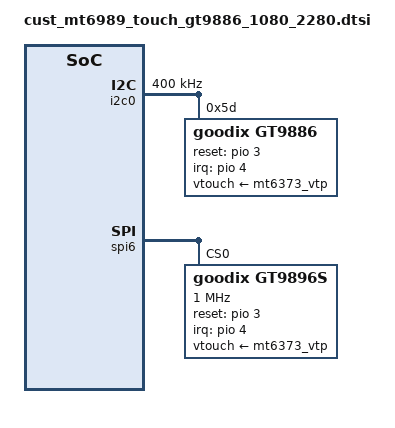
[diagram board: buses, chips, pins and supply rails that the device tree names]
// SPDX-License-Identifier: GPL-2.0
/*
 * Copyright (c) 2019 MediaTek Inc.
 */
/* TOUCH start */
&i2c0 {
	clock-frequency = <400000>;
	pinctrl-names = "default", "ts_int_active",
		"ts_reset_active", "ts_int_suspend",
		"ts_reset_suspend", "ts_i2c_mode";
	pinctrl-0 = <&ctp_pins_default>;
	pinctrl-1 = <&ctp_ts_int_active>;
	pinctrl-2 = <&ctp_ts_reset_active>;
	pinctrl-3 = <&ctp_ts_int_suspend>;
	pinctrl-4 = <&ctp_ts_reset_suspend>;
	pinctrl-5 = <&ctp_ts_i2c_mode>;

	gt9886@5d {
		compatible = "goodix,gt9886";
		reg = <0x5d>;
		status = "ok";
		interrupt-parent = <&pio>;
		interrupts = <4 IRQ_TYPE_EDGE_FALLING 4 0>;
		vtouch-supply = <&mt6373_vtp>;
		goodix,reset-gpio = <&pio 3 0x0>;
		goodix,irq-gpio = <&pio 4 0x0>;
		goodix,irq-flags = <2>; /* 1:rising, 2:falling;*/
		goodix,panel-max-id = <10>;
		goodix,panel-max-x = <1080>;
		goodix,panel-max-y = <2280>;
		goodix,panel-max-w = <256>;
		goodix,panel-max-p = <256>;
		goodix,input-max-x = <1080>;
		goodix,input-max-y = <2280>;
		goodix,panel-key-map = <158 172 217>; /*BACK,HOMEPAGE,SEARCH*/
		goodix,power-on-delay-us = <10000>; /*10ms*/
		goodix,power-off-delay-us = <5000>;
		goodix,firmware-version = "6877v01";
		goodix,config-version = "6877v01";
		/*goodix,swap-axis;*/
		/*goodix,x2x;*/
		/*goodix,y2y;*/
		goodix,pen-enable;
		goodix,key-of-pen = <331 332>;/*BTN_STYLUS, BTN_STYLUS2*/
		tpd-filter-enable = <0>;
		tpd-filter-pixel-density = <161>;
		tpd-filter-custom-prameters = <0 0 0 0 0 0 0 0 0 0 0 0>;
		tpd-filter-custom-speed = <0 0 0>;
	};
};

&spi6 {
	status = "okay";
	#address-cells = <1>;
	#size-cells = <0>;
	pinctrl-names = "default", "gt9896s_int_active",
		"gt9896s_reset_active", "gt9896s_int_suspend",
		"gt9896s_reset_suspend", "gt9896s_spi_mode";
	pinctrl-0 = <&ctp_gt9896s_pins_default>;
	pinctrl-1 = <&ctp_gt9896s_int_active>;
	pinctrl-2 = <&ctp_gt9896s_reset_active>;
	pinctrl-3 = <&ctp_gt9896s_int_suspend>;
	pinctrl-4 = <&ctp_gt9896s_reset_suspend>;
	pinctrl-5 = <&ctp_gt9896s_spi_mode>;

	goodix@0 {
		compatible = "goodix,gt9896s", "goodix,nottingham";
		reg = <0>; //Same as CS ID
		spi-max-frequency = <1000000>;

		goodix,avdd-name = "vtouch";
		vtouch-supply = <&mt6373_vtp>;
		goodix,reset-gpio = <&pio 3 0x0>;
		goodix,irq-gpio = <&pio 4 0x0>;
		goodix,irq-flags = <2>; /* 1:rising, 2:falling;*/
		goodix,panel-max-id = <10>;
		goodix,panel-max-x = <1080>;
		goodix,panel-max-y = <2400>;
		goodix,panel-max-w = <256>;
		goodix,panel-max-p = <256>;
		goodix,input-max-x = <1080>;
		goodix,input-max-y = <2400>;
		gt9895,power-voltage = <2800000>;
		goodix,panel-key-map = <158 172 217>; /*BACK,HOMEPAGE,SEARCH*/
		goodix,power-on-delay-us = <10000>; /*10ms*/
		goodix,power-off-delay-us = <5000>;
		gt9895,firmware-name = "gt9895_firmware_6989v01.bin";
		gt9895,config-name = "gt9895_cfg_6989v01.bin";
		goodix,firmware-version = "6983v01";
		goodix,config-version = "6983v01";
		/*goodix,swap-axis;*/
		/*gt9895,x2x;*/
		/*gt9895,y2y;*/
		goodix,x2x;
		goodix,y2y;
		goodix,pen-enable;
		tpd-filter-enable = <0>;
		tpd-filter-pixel-density = <161>;
		tpd-filter-custom-prameters = <0 0 0 0 0 0 0 0 0 0 0 0>;
		tpd-filter-custom-speed = <0 0 0>;
	};

};

&pio {
	ctp_pins_default: eintdefault {
	};
	ctp_gt9896s_pins_default: pins-default {
	};
	ctp_ts_int_active: int-active {
		pins-cmd-dat {
			pinmux = <PINMUX_GPIO4__FUNC_GPIO4>;
			input-enable;
		};
	};
	ctp_ts_reset_active: reset-active {
		pins-cmd-dat {
			pinmux = <PINMUX_GPIO3__FUNC_GPIO3>;
			output-high;
		};
	};
	ctp_ts_int_suspend: int-suspend {
		pins-cmd-dat {
			pinmux = <PINMUX_GPIO4__FUNC_GPIO4>;
			output-low;
		};
	};
	ctp_ts_reset_suspend: reset-suspend {
		pins-cmd-dat {
			pinmux = <PINMUX_GPIO3__FUNC_GPIO3>;
			output-low;
		};
	};
	ctp_ts_i2c_mode: i2cmode-default {
		pins-cmd-dat {
			pinmux = <PINMUX_GPIO223__FUNC_SCL0>,
				<PINMUX_GPIO224__FUNC_SDA0>;
		};
	};
	ctp_gt9896s_int_active: int1-active {
		pins-cmd-dat {
			pinmux = <PINMUX_GPIO4__FUNC_GPIO4>;
			input-enable;
		};
	};
	ctp_gt9896s_reset_active: reset1-active {
		pins-cmd-dat {
			pinmux = <PINMUX_GPIO3__FUNC_GPIO3>;
			output-high;
		};
	};
	ctp_gt9896s_int_suspend: int1-suspend {
		pins-cmd-dat {
			pinmux = <PINMUX_GPIO4__FUNC_GPIO4>;
			output-low;
		};
	};
	ctp_gt9896s_reset_suspend: reset1-suspend {
		pins-cmd-dat {
			pinmux = <PINMUX_GPIO3__FUNC_GPIO3>;
			output-low;
		};
	};
	ctp_gt9896s_spi_mode: spimode-default {
		pins-cmd-dat {
			pinmux = <PINMUX_GPIO231__FUNC_SPI6_B_CLK>,
				<PINMUX_GPIO232__FUNC_SPI6_B_CSB>,
				<PINMUX_GPIO233__FUNC_SPI6_B_MO>,
				<PINMUX_GPIO234__FUNC_SPI6_B_MI>;
			drive-strength = <2>;
		};
	};
};
/* TOUCH end */
